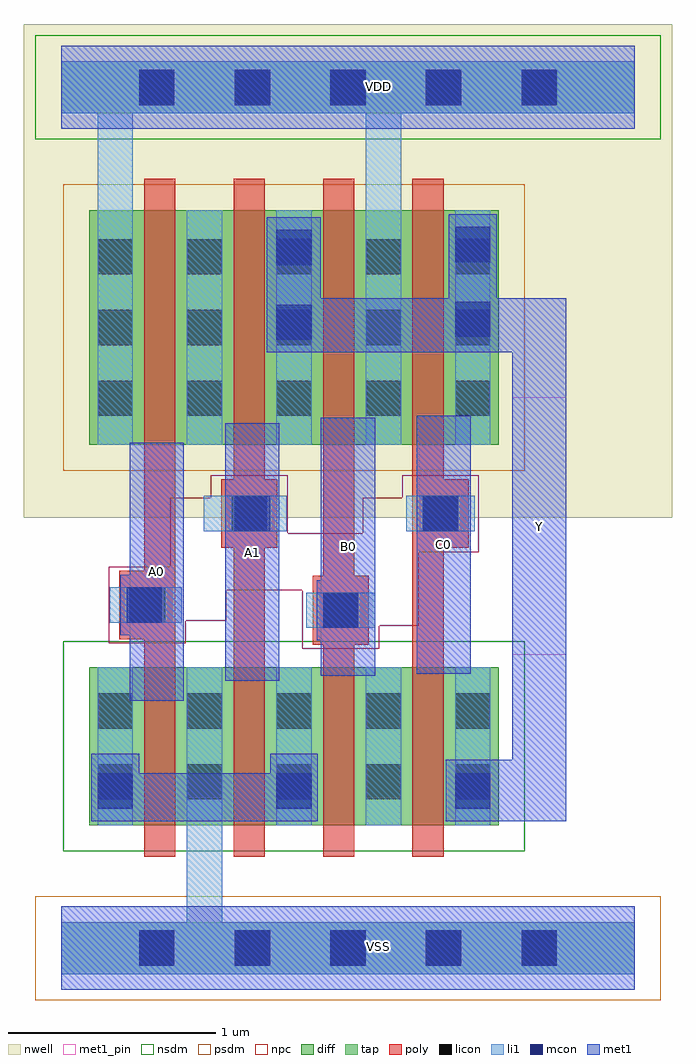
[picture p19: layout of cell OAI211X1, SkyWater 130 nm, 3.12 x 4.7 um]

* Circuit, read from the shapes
.subckt OAI211X1 A0 A1 B0 C0 VDD VSS Y
XM1 VSS A0 n1 VSS sky130_fd_pr__nfet_01v8 w=0.76 l=0.15
XM2 n1 A1 VSS VSS sky130_fd_pr__nfet_01v8 w=0.76 l=0.15
XM3 n2 B0 n1 VSS sky130_fd_pr__nfet_01v8 w=0.76 l=0.15
XM4 Y C0 n2 VSS sky130_fd_pr__nfet_01v8 w=0.76 l=0.15
XM5 n3 A0 VDD VDD sky130_fd_pr__pfet_01v8 w=1.13 l=0.15
XM6 Y A1 n3 VDD sky130_fd_pr__pfet_01v8 w=1.13 l=0.15
XM7 VDD B0 Y VDD sky130_fd_pr__pfet_01v8 w=1.13 l=0.15
XM8 Y C0 VDD VDD sky130_fd_pr__pfet_01v8 w=1.13 l=0.15
.ends

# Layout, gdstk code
import gdstk
lib = gdstk.Library(unit=1e-6, precision=1e-09)
def R(c, l, rs):  # rectangles x0, y0, x1, y1
    for r in rs: c.add(gdstk.rectangle(r[:2], r[2:], *l))
def A(c, l, x, y, w, h, nx, ny, dx, dy):  # array of equal rectangles
    R(c, l, [(x+i*dx, y+j*dy, x+i*dx+w, y+j*dy+h) for i in range(nx) for j in range(ny)])
nwell = (64, 20)
diff = (65, 20)
tap = (65, 44)
poly = (66, 20)
licon = (66, 44)
li1 = (67, 20)
mcon = (67, 44)
met1_pin = (68, 16)
met1 = (68, 20)
nsdm = (93, 44)
psdm = (94, 20)
npc = (95, 20)

oai211x1 = lib.new_cell('OAI211X1')
R(oai211x1, nwell, [(-0.18,2.07,2.94,4.445)])
R(oai211x1, diff, [(0.135,0.59,2.105,1.35), (0.135,2.42,2.105,3.55)])
R(oai211x1, tap, [(0,-0.125,2.76,0.125), (0,4.015,2.76,4.265)])
R(oai211x1, poly, [(0.4,0.44,0.55,1.485), (0.83,0.44,0.98,1.925), (1.26,0.44,1.41,1.46), (1.69,0.44,1.84,1.925), (1.21,1.46,1.48,1.79), (0.28,1.485,0.55,1.815), (1.26,1.79,1.41,3.7), (0.4,1.815,0.55,3.7), (0.77,1.925,1.04,2.255), (1.69,1.925,1.96,2.255), (0.83,2.255,0.98,3.7), (1.69,2.255,1.84,3.7)])
A(oai211x1, licon, 0.375, -0.085, 0.17, 0.17, 5, 2, 0.46, 4.14)
A(oai211x1, licon, 0.175, 0.715, 0.17, 0.17, 5, 2, 0.43, 0.34)
A(oai211x1, licon, 0.175, 2.56, 0.17, 0.17, 5, 3, 0.43, 0.34)
R(oai211x1, licon, [(1.26,1.54,1.43,1.71), (0.33,1.565,0.5,1.735), (0.82,2.005,0.99,2.175), (1.74,2.005,1.91,2.175)])
A(oai211x1, li1, 1.035, 0.59, 0.17, 0.76, 3, 1, 0.43, 0)
R(oai211x1, li1, [(0,-0.125,2.76,0.125), (0.605,0.125,0.775,1.35), (0.175,0.59,0.345,1.35), (1.18,1.54,1.51,1.71), (0.235,1.565,0.58,1.735), (0.685,2.005,1.085,2.175), (1.66,2.005,1.99,2.175), (0.175,2.42,0.345,4.015), (0.605,2.42,0.775,3.55), (1.035,2.42,1.205,3.55), (1.465,2.42,1.635,4.015), (1.895,2.42,2.065,3.55), (0,4.015,2.76,4.265)])
A(oai211x1, mcon, 0.375, -0.085, 0.17, 0.17, 5, 2, 0.46, 4.14)
A(oai211x1, mcon, 0.175, 0.67, 0.17, 0.17, 3, 1, 0.86, 0)
R(oai211x1, mcon, [(1.26,1.54,1.43,1.71), (0.315,1.565,0.485,1.735), (0.835,2.005,1.005,2.175), (1.74,2.005,1.91,2.175), (1.035,2.925,1.205,3.095), (1.895,2.94,2.065,3.11), (1.035,3.285,1.205,3.455), (1.895,3.3,2.065,3.47)])
R(oai211x1, met1_pin, [(0.33,1.19,0.59,2.43), (0.79,1.285,1.05,2.525), (1.25,1.31,1.51,2.55), (1.71,1.32,1.97,2.56), (2.17,1.41,2.43,2.65)])
R(oai211x1, met1, [(0,-0.2,2.76,0.2), (0.145,0.61,1.235,0.84), (1.85,0.61,2.43,0.905), (0.145,0.84,0.375,0.935), (1.005,0.84,1.235,0.935), (2.17,0.905,2.43,2.865), (0.33,1.19,0.59,1.505), (0.79,1.285,1.05,2.525), (1.25,1.31,1.51,1.48), (1.71,1.32,1.97,2.56), (1.23,1.48,1.51,1.77), (0.285,1.505,0.59,1.795), (1.25,1.77,1.51,2.55), (0.33,1.795,0.59,2.43), (0.99,2.865,2.43,3.125), (0.99,3.125,1.25,3.515), (1.865,3.125,2.095,3.53), (0,3.94,2.76,4.34)])
R(oai211x1, nsdm, [(0.01,0.465,2.23,1.475), (-0.125,3.89,2.885,4.39)])
R(oai211x1, psdm, [(-0.125,-0.25,2.885,0.25), (0.01,2.295,2.23,3.675)])
R(oai211x1, npc, [(1.16,1.44,1.53,1.55), (0.23,1.465,0.6,1.575), (1.16,1.55,1.72,1.72), (0.23,1.575,0.795,1.72), (0.23,1.72,1.72,1.835), (0.525,1.835,1.72,1.905), (0.525,1.905,2.01,1.995), (0.525,1.995,1.09,2.165), (1.45,1.995,2.01,2.165), (0.72,2.165,1.09,2.275), (1.64,2.165,2.01,2.275)])
oai211x1.add(gdstk.Label('VDD', (1.525,4.145), layer=68, texttype=5))
oai211x1.add(gdstk.Label('VSS', (1.525,0.005), layer=68, texttype=5))
oai211x1.add(gdstk.Label('VDD', (1.525,4.145), layer=68, texttype=5))
oai211x1.add(gdstk.Label('Y', (2.3,2.03), layer=68, texttype=5))
oai211x1.add(gdstk.Label('C0', (1.84,1.94), layer=68, texttype=5))
oai211x1.add(gdstk.Label('B0', (1.38,1.93), layer=68, texttype=5))
oai211x1.add(gdstk.Label('A1', (0.92,1.905), layer=68, texttype=5))
oai211x1.add(gdstk.Label('A0', (0.46,1.81), layer=68, texttype=5))

lib.write_gds('OAI211X1.gds')
